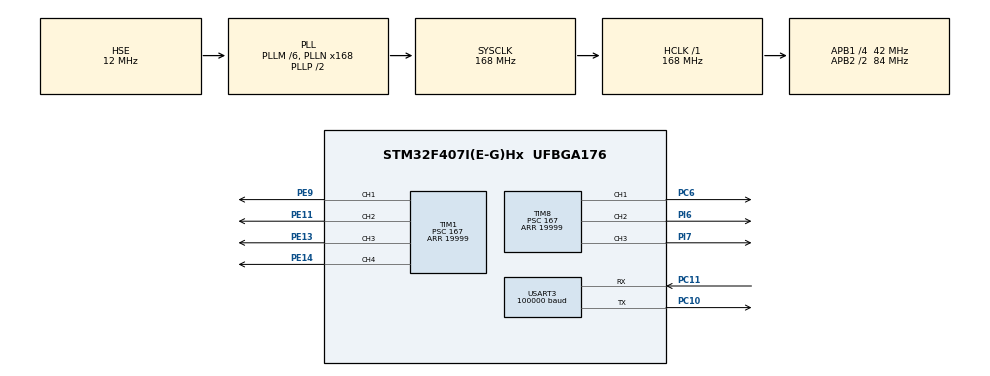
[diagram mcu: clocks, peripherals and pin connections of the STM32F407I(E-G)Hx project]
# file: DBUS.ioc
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Dma.Request0=USART3_RX
Dma.USART3_RX.0.Direction=DMA_PERIPH_TO_MEMORY
Dma.USART3_RX.0.FIFOMode=DMA_FIFOMODE_DISABLE
Dma.USART3_RX.0.Instance=DMA1_Stream1
Dma.USART3_RX.0.MemDataAlignment=DMA_MDATAALIGN_BYTE
Dma.USART3_RX.0.MemInc=DMA_MINC_ENABLE
Dma.USART3_RX.0.Mode=DMA_CIRCULAR
Dma.USART3_RX.0.PeriphDataAlignment=DMA_PDATAALIGN_BYTE
Dma.USART3_RX.0.PeriphInc=DMA_PINC_DISABLE
Dma.USART3_RX.0.Priority=DMA_PRIORITY_VERY_HIGH
Mcu.Family=STM32F4
Mcu.Name=STM32F407I(E-G)Hx
Mcu.Package=UFBGA176
NVIC.DMA1_Stream1_IRQn=true\:0\:0\:false\:false\:true\:false\:true\:true
NVIC.PriorityGroup=NVIC_PRIORITYGROUP_4
PA13.Mode=Serial_Wire
PA13.Signal=SYS_JTMS-SWDIO
PA14.Mode=Serial_Wire
PA14.Signal=SYS_JTCK-SWCLK
PC10.Mode=Asynchronous
PC10.Signal=USART3_TX
PC11.Mode=Asynchronous
PC11.Signal=USART3_RX
PC6.GPIO_PuPd=GPIO_PULLUP
PC6.GPIO_Speed=GPIO_SPEED_FREQ_HIGH
PC6.Signal=S_TIM8_CH1
PE11.GPIO_PuPd=GPIO_PULLUP
PE11.GPIO_Speed=GPIO_SPEED_FREQ_HIGH
PE11.Signal=S_TIM1_CH2
PE13.GPIO_PuPd=GPIO_PULLUP
PE13.GPIO_Speed=GPIO_SPEED_FREQ_HIGH
PE13.Signal=S_TIM1_CH3
PE14.GPIO_PuPd=GPIO_PULLUP
PE14.GPIO_Speed=GPIO_SPEED_FREQ_HIGH
PE14.Signal=S_TIM1_CH4
PE9.GPIO_PuPd=GPIO_PULLUP
PE9.GPIO_Speed=GPIO_SPEED_FREQ_HIGH
PE9.Signal=S_TIM1_CH1
PH0-OSC_IN.Mode=HSE-External-Oscillator
PH0-OSC_IN.Signal=RCC_OSC_IN
PH1-OSC_OUT.Mode=HSE-External-Oscillator
PH1-OSC_OUT.Signal=RCC_OSC_OUT
PI6.GPIO_PuPd=GPIO_PULLUP
PI6.GPIO_Speed=GPIO_SPEED_FREQ_HIGH
PI6.Signal=S_TIM8_CH2
PI7.GPIO_PuPd=GPIO_PULLUP
PI7.GPIO_Speed=GPIO_SPEED_FREQ_HIGH
PI7.Signal=S_TIM8_CH3
ProjectManager.HeapSize=0x2000
ProjectManager.StackSize=0x2000
ProjectManager.TargetToolchain=MDK-ARM V5
RCC.48MHZClocksFreq_Value=48000000
RCC.AHBFreq_Value=168000000
RCC.APB1CLKDivider=RCC_HCLK_DIV4
RCC.APB1Freq_Value=42000000
RCC.APB1TimFreq_Value=84000000
RCC.APB2CLKDivider=RCC_HCLK_DIV2
RCC.APB2Freq_Value=84000000
RCC.APB2TimFreq_Value=168000000
RCC.CortexFreq_Value=168000000
RCC.HCLKFreq_Value=168000000
RCC.HSE_VALUE=12000000
RCC.HSI_VALUE=16000000
RCC.LSE_VALUE=32768
RCC.PLLM=6
RCC.PLLN=168
RCC.PLLQ=7
RCC.PLLSourceVirtual=RCC_PLLSOURCE_HSE
RCC.RCC_RTC_Clock_SourceVirtual=RCC_RTCCLKSOURCE_HSE_DIV30
RCC.RCC_RTC_Clock_Source_FROM_HSE=RCC_RTCCLKSOURCE_HSE_DIV30
RCC.SYSCLKFreq_VALUE=168000000
RCC.SYSCLKSource=RCC_SYSCLKSOURCE_PLLCLK
RCC.VCOOutputFreq_Value=336000000
SH.S_TIM1_CH1.0=TIM1_CH1,PWM Generation1 CH1
SH.S_TIM1_CH2.0=TIM1_CH2,PWM Generation2 CH2
SH.S_TIM1_CH3.0=TIM1_CH3,PWM Generation3 CH3
SH.S_TIM1_CH4.0=TIM1_CH4,PWM Generation4 CH4
SH.S_TIM8_CH1.0=TIM8_CH1,PWM Generation1 CH1
SH.S_TIM8_CH2.0=TIM8_CH2,PWM Generation2 CH2
SH.S_TIM8_CH3.0=TIM8_CH3,PWM Generation3 CH3
TIM1.Channel-PWM\ Generation1\ CH1=TIM_CHANNEL_1
TIM1.Channel-PWM\ Generation2\ CH2=TIM_CHANNEL_2
TIM1.Channel-PWM\ Generation3\ CH3=TIM_CHANNEL_3
TIM1.Channel-PWM\ Generation4\ CH4=TIM_CHANNEL_4
TIM1.Period=19999
TIM1.Prescaler=167
TIM1.Pulse-PWM\ Generation1\ CH1=2000
TIM1.Pulse-PWM\ Generation2\ CH2=2000
TIM1.Pulse-PWM\ Generation3\ CH3=2000
TIM1.Pulse-PWM\ Generation4\ CH4=2000
TIM8.Channel-PWM\ Generation1\ CH1=TIM_CHANNEL_1
TIM8.Channel-PWM\ Generation2\ CH2=TIM_CHANNEL_2
TIM8.Channel-PWM\ Generation3\ CH3=TIM_CHANNEL_3
TIM8.Period=19999
TIM8.Prescaler=167
TIM8.Pulse-PWM\ Generation1\ CH1=2000
TIM8.Pulse-PWM\ Generation2\ CH2=2000
TIM8.Pulse-PWM\ Generation3\ CH3=2000
USART3.BaudRate=100000
USART3.Parity=PARITY_EVEN
USART3.VirtualMode=VM_ASYNC
USART3.WordLength=WORDLENGTH_9B
VP_TIM1_VS_ClockSourceINT.Mode=Internal
VP_TIM8_VS_ClockSourceINT.Mode=Internal
board=custom

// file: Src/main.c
/* USER CODE BEGIN Header */
/**
  ******************************************************************************
  * @file           : main.c
  * @brief          : Main program body
  ******************************************************************************
  * @attention
  *
  * <h2><center>&copy; Copyright (c) 2020 STMicroelectronics.
  * All rights reserved.</center></h2>
  *
  * This software component is licensed by ST under BSD 3-Clause license,
  * the "License"; You may not use this file except in compliance with the
  * License. You may obtain a copy of the License at:
  *                        opensource.org/licenses/BSD-3-Clause
  *
  ******************************************************************************
  */
/* USER CODE END Header */
#include "main.h"
#include "dma.h"
#include "tim.h"
#include "usart.h"
#include "gpio.h"

/* USER CODE BEGIN PV */
RC_Ctl_t RC_Ctl;   							//����ң�������ݽṹ��
uint8_t sbus_rx_buffer[18]; 		//����ң������������

int TongDao0 = 0;               //����һ������
/* USER CODE END PV */

void SystemClock_Config(void);

int main(void)
{

  /* MCU Configuration--------------------------------------------------------*/

  /* Reset of all peripherals, Initializes the Flash interface and the Systick. */
  HAL_Init();

  /* Configure the system clock */
  SystemClock_Config();

  /* Initialize all configured peripherals */
  MX_GPIO_Init();
  MX_DMA_Init();
  MX_TIM8_Init();
  MX_TIM1_Init();
  MX_USART3_UART_Init();
  /* USER CODE BEGIN 2 */
	HAL_UART_Receive_DMA(&huart3,sbus_rx_buffer,18);//begin the uart receive

  /* USER CODE END 2 */

  /* Infinite loop */
  /* USER CODE BEGIN WHILE */
  while (1)
  {
		TongDao0 = RC_Ctl.rc.ch0-1024;
		HAL_Delay(10);
    /* USER CODE END WHILE */

  }
}

void SystemClock_Config(void)
{
  RCC_OscInitTypeDef RCC_OscInitStruct = {0};
  RCC_ClkInitTypeDef RCC_ClkInitStruct = {0};

  /** Configure the main internal regulator output voltage
  */
  __HAL_RCC_PWR_CLK_ENABLE();
  __HAL_PWR_VOLTAGESCALING_CONFIG(PWR_REGULATOR_VOLTAGE_SCALE1);

  /** Initializes the RCC Oscillators according to the specified parameters
  * in the RCC_OscInitTypeDef structure.
  */
  RCC_OscInitStruct.OscillatorType = RCC_OSCILLATORTYPE_HSE;
  RCC_OscInitStruct.HSEState = RCC_HSE_ON;
  RCC_OscInitStruct.PLL.PLLState = RCC_PLL_ON;
  RCC_OscInitStruct.PLL.PLLSource = RCC_PLLSOURCE_HSE;
  RCC_OscInitStruct.PLL.PLLM = 6;
  RCC_OscInitStruct.PLL.PLLN = 168;
  RCC_OscInitStruct.PLL.PLLP = RCC_PLLP_DIV2;
  RCC_OscInitStruct.PLL.PLLQ = 7;
  if (HAL_RCC_OscConfig(&RCC_OscInitStruct) != HAL_OK)
  {
    Error_Handler();
  }

  /** Initializes the CPU, AHB and APB buses clocks
  */
  RCC_ClkInitStruct.ClockType = RCC_CLOCKTYPE_HCLK|RCC_CLOCKTYPE_SYSCLK
                              |RCC_CLOCKTYPE_PCLK1|RCC_CLOCKTYPE_PCLK2;
  RCC_ClkInitStruct.SYSCLKSource = RCC_SYSCLKSOURCE_PLLCLK;
  RCC_ClkInitStruct.AHBCLKDivider = RCC_SYSCLK_DIV1;
  RCC_ClkInitStruct.APB1CLKDivider = RCC_HCLK_DIV4;
  RCC_ClkInitStruct.APB2CLKDivider = RCC_HCLK_DIV2;

  if (HAL_RCC_ClockConfig(&RCC_ClkInitStruct, FLASH_LATENCY_5) != HAL_OK)
  {
    Error_Handler();
  }
}

/* USER CODE BEGIN 4 */
void HAL_UART_RxCpltCallback(UART_HandleTypeDef *UartHandle)  //get the recieve data
{
				RC_Ctl.rc.ch0 = (sbus_rx_buffer[0]| (sbus_rx_buffer[1] << 8)) & 0x07ff;
				RC_Ctl.rc.ch1 = ((sbus_rx_buffer[1] >> 3) | (sbus_rx_buffer[2] << 5)) & 0x07ff;
				RC_Ctl.rc.ch2 = ((sbus_rx_buffer[2] >> 6) | (sbus_rx_buffer[3] << 2) | (sbus_rx_buffer[4] << 10)) & 0x07ff;
				RC_Ctl.rc.ch3 = ((sbus_rx_buffer[4] >> 1) | (sbus_rx_buffer[5] << 7)) & 0x07ff;
				RC_Ctl.rc.s1  = ((sbus_rx_buffer[5] >> 4)& 0x000C) >> 2;
				RC_Ctl.rc.s2  = ((sbus_rx_buffer[5] >> 4)& 0x0003);

				RC_Ctl.mouse.x = sbus_rx_buffer[6] | (sbus_rx_buffer[7] << 8);                    //!< Mouse X axis
				RC_Ctl.mouse.y = sbus_rx_buffer[8] | (sbus_rx_buffer[9] << 8);                    //!< Mouse Y axis
				RC_Ctl.mouse.z = sbus_rx_buffer[10] | (sbus_rx_buffer[11] << 8);                  //!< Mouse Z axis
				RC_Ctl.mouse.press_l = sbus_rx_buffer[12];                                        //!< Mouse Left Is Press
				RC_Ctl.mouse.press_r = sbus_rx_buffer[13];                                        //!< Mouse Right Is Press
				RC_Ctl.key.v = sbus_rx_buffer[14] | (sbus_rx_buffer[15] << 8);   			//!< KeyBoard value
}

/* USER CODE END 4 */

void Error_Handler(void)
{
}
